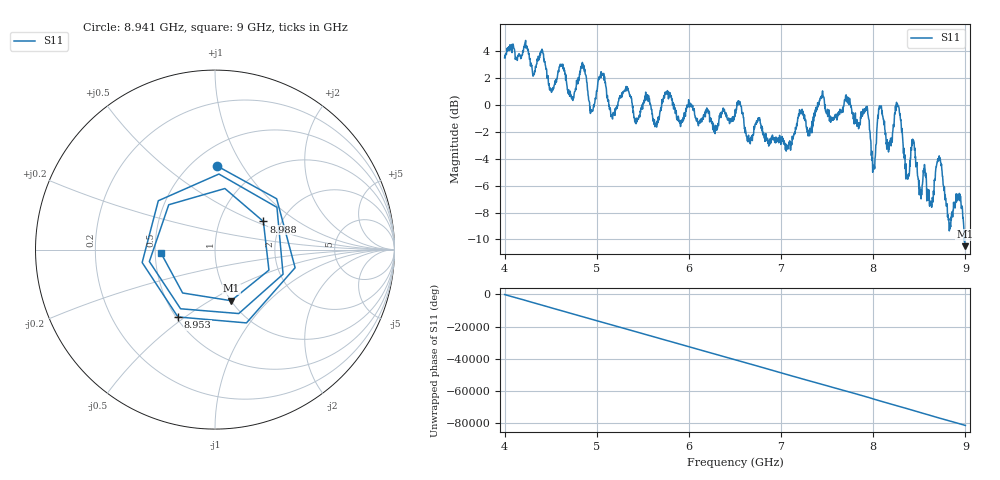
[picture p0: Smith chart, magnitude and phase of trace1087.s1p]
! Created with skrf 1.8.0 (http://scikit-rf.org).
# Hz S RI R 50.0
!freq ReS11 ImS11
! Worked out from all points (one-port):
!   1601 points, 4 GHz to 9 GHz, reference 50 ohm
!   lowest |S11| = -10.5 dB at 8.994 GHz (marker M1), VSWR 1.85, Z = 50.1 - j31.3 ohm
!   |S11| at or under -10 dB: 8.987443 GHz to 8.989372 GHz (1.929 MHz wide, 0.0215 % of centre); 8.991674 GHz to end of sweep
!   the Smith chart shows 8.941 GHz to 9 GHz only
!   S11 on the Smith chart (normalised r, x): 8.941 GHz: 0.66, +0.78; 8.953 GHz: 0.51, -0.47; 8.988 GHz: 1.62, +0.56; 9 GHz: 0.54, -0.02
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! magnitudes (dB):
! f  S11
! 4 GHz  3.5
! 4.625 GHz  2.9
! 4.728 GHz  0.5
! 4.853 GHz  2.7
! 4.947 GHz  -0.4
! 5.05 GHz  2.2
! 5.162 GHz  -0.8
! 5.25 GHz  0.6
! 5.875 GHz  -1.0
! 6.5 GHz  -0.9
! 7.125 GHz  -2.6
! 7.441 GHz  0.5
! 7.75 GHz  0.1
! 7.928 GHz  -0.3
! 8.003 GHz  -4.8
! 8.072 GHz  -0.2
! 8.169 GHz  -3.0
! 8.266 GHz  -0.1
! 8.375 GHz  -5.5
! 8.434 GHz  -2.7
! 8.625 GHz  -7.1
! 8.716 GHz  -3.8
! 8.828 GHz  -9.3
! 8.941 GHz  -6.6
! 8.953 GHz  -7.4
! 8.988 GHz  -10.1
! 8.994 GHz  -10.5
! 9 GHz  -10.4
